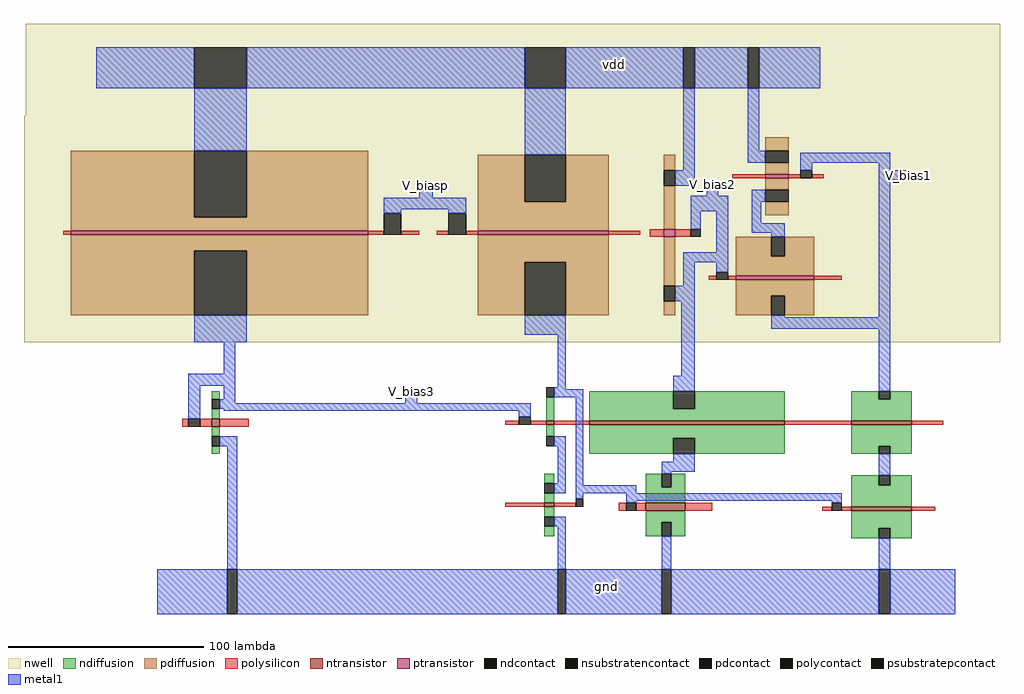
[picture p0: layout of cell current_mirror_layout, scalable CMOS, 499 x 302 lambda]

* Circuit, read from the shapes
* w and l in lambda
.subckt current_mirror_layout V_bias1 V_bias2 V_bias3 V_biasp gnd vdd
M1 V_bias3 V_bias3 gnd gnd nfet w=4 l=4
M2 n1 n2 gnd gnd nfet w=5 l=2
M3 n2 V_bias3 n1 gnd nfet w=4 l=2
M4 V_bias2 V_bias3 n3 gnd nfet w=100 l=2
M5 n3 n2 gnd gnd nfet w=20 l=4
M6 n4 n2 gnd gnd nfet w=31 l=2
M7 V_bias1 V_bias3 n4 gnd nfet w=31 l=2
M8 vdd V_biasp V_bias3 vdd pfet w=152 l=2
M9 vdd V_biasp n2 vdd pfet w=67 l=2
M10 vdd V_bias2 V_bias2 vdd pfet w=6 l=4
M11 n5 V_bias2 V_bias1 vdd pfet w=40 l=2
M12 vdd V_bias1 n5 vdd pfet w=12 l=2
.ends

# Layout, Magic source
magic
tech scmos
<< nwell >>
rect -126 142 372 189
rect -127 26 372 142
<< ntransistor >>
rect -31 -17 -27 -13
rect 140 -16 144 -14
rect 162 -16 262 -14
rect 296 -16 327 -14
rect 139 -58 144 -56
rect 191 -60 211 -56
rect 296 -60 327 -58
<< ptransistor >>
rect -103 81 49 83
rect 252 110 264 112
rect 105 81 172 83
rect 200 80 206 84
rect 237 58 277 60
<< ndiffusion >>
rect -31 -3 -27 1
rect -31 -13 -27 -8
rect 140 -14 144 -2
rect 162 -8 205 1
rect 216 -8 262 1
rect 162 -14 262 -8
rect 296 -3 310 1
rect 316 -3 327 1
rect 296 -14 327 -3
rect -31 -22 -27 -17
rect 140 -22 144 -16
rect 162 -23 262 -16
rect -31 -31 -27 -27
rect 162 -31 205 -23
rect 216 -31 262 -23
rect 296 -27 327 -16
rect 296 -31 310 -27
rect 316 -31 327 -27
rect 139 -46 144 -41
rect 139 -56 144 -51
rect 191 -48 199 -41
rect 204 -48 211 -41
rect 191 -56 211 -48
rect 296 -47 310 -42
rect 316 -47 327 -42
rect 139 -63 144 -58
rect 296 -58 327 -47
rect 139 -73 144 -68
rect 191 -66 211 -60
rect 191 -73 199 -66
rect 204 -73 211 -66
rect 296 -69 327 -60
rect 296 -74 310 -69
rect 316 -74 327 -69
<< pdiffusion >>
rect 252 124 264 131
rect -103 90 -40 124
rect -13 90 49 124
rect 105 98 129 122
rect 150 98 172 122
rect -103 83 49 90
rect 105 83 172 98
rect 200 114 206 122
rect 252 112 264 118
rect 200 84 206 106
rect 252 104 264 110
rect 252 91 264 98
rect -103 73 49 81
rect -103 40 -40 73
rect -13 40 49 73
rect 105 67 172 81
rect 105 40 129 67
rect 150 40 172 67
rect 200 55 206 80
rect 237 70 255 80
rect 262 70 277 80
rect 237 60 277 70
rect 200 40 206 47
rect 237 50 277 58
rect 237 40 255 50
rect 262 40 277 50
<< ndcontact >>
rect -31 -8 -27 -3
rect 140 -2 144 3
rect 205 -8 216 1
rect 310 -3 316 1
rect -31 -27 -27 -22
rect 140 -27 144 -22
rect 205 -31 216 -23
rect 310 -31 316 -27
rect 139 -51 144 -46
rect 199 -48 204 -41
rect 310 -47 316 -42
rect 139 -68 144 -63
rect 199 -73 204 -66
rect 310 -74 316 -69
<< pdcontact >>
rect -40 90 -13 124
rect 129 98 150 122
rect 200 106 206 114
rect 252 118 264 124
rect 252 98 264 104
rect -40 40 -13 73
rect 129 40 150 67
rect 255 70 262 80
rect 200 47 206 55
rect 255 40 262 50
<< psubstratepcontact >>
rect -23 -113 -18 -90
rect 146 -113 150 -90
rect 199 -113 204 -90
rect 310 -113 316 -90
<< nsubstratencontact >>
rect -40 156 -13 177
rect 129 156 150 177
rect 210 156 216 177
rect 243 156 249 177
<< polysilicon >>
rect -107 81 -103 83
rect 49 81 57 83
rect 66 81 75 83
rect 84 81 90 83
rect 235 110 252 112
rect 264 110 270 112
rect 276 110 282 112
rect 99 81 105 83
rect 172 81 188 83
rect 193 80 200 84
rect 206 80 214 84
rect 223 58 227 60
rect 233 58 237 60
rect 277 58 291 60
rect -46 -17 -43 -13
rect -37 -17 -31 -13
rect -27 -17 -12 -13
rect 119 -16 126 -14
rect 132 -16 140 -14
rect 144 -16 162 -14
rect 262 -16 296 -14
rect 327 -16 343 -14
rect 119 -58 139 -56
rect 144 -58 155 -56
rect 177 -60 181 -56
rect 186 -60 191 -56
rect 211 -60 225 -56
rect 281 -60 286 -58
rect 291 -60 296 -58
rect 327 -60 339 -58
<< polycontact >>
rect 57 81 66 92
rect 90 81 99 92
rect 270 110 276 114
rect 214 80 219 84
rect 227 58 233 62
rect -43 -17 -37 -13
rect 126 -16 132 -12
rect 155 -58 159 -54
rect 181 -60 186 -56
rect 286 -60 291 -56
<< metal1 >>
rect -90 156 -40 177
rect -13 156 129 177
rect 150 156 210 177
rect 216 156 243 177
rect 249 156 280 177
rect -40 124 -13 156
rect 129 122 150 156
rect 75 100 82 106
rect 57 94 99 100
rect 210 114 216 156
rect 243 124 249 156
rect 243 118 252 124
rect 270 118 316 123
rect 206 106 216 114
rect 270 114 276 118
rect 310 114 316 118
rect 310 109 325 114
rect 222 101 228 107
rect 57 92 66 94
rect 90 92 99 94
rect 214 93 233 101
rect 214 84 219 93
rect 227 72 233 93
rect 245 98 252 104
rect 245 87 250 98
rect 245 82 262 87
rect 210 67 233 72
rect 255 80 262 82
rect -40 26 -13 40
rect 210 55 216 67
rect 227 62 233 67
rect 206 47 216 55
rect 129 30 150 40
rect -25 10 -19 26
rect -43 4 -19 10
rect -43 -13 -37 4
rect -25 -3 -19 4
rect 146 3 150 30
rect 209 9 216 47
rect 255 39 262 40
rect 310 39 316 109
rect 255 33 316 39
rect -27 -5 -19 -3
rect 68 -5 74 1
rect 144 2 150 3
rect 144 -2 159 2
rect -27 -8 132 -5
rect -25 -9 132 -8
rect 126 -12 132 -9
rect -27 -27 -18 -22
rect 144 -27 150 -22
rect -23 -90 -18 -27
rect 146 -46 150 -27
rect 144 -51 150 -46
rect 155 -47 159 -2
rect 205 1 216 9
rect 310 1 316 33
rect 205 -35 216 -31
rect 199 -40 216 -35
rect 199 -41 204 -40
rect 155 -51 186 -47
rect 310 -42 316 -31
rect 155 -54 159 -51
rect 181 -55 291 -51
rect 181 -56 186 -55
rect 286 -56 291 -55
rect 144 -68 150 -63
rect 146 -90 150 -68
rect 199 -90 204 -73
rect 310 -90 316 -74
rect -59 -113 -23 -90
rect -18 -113 146 -90
rect 150 -113 199 -90
rect 204 -113 310 -90
rect 316 -113 349 -90
<< labels >>
rlabel metal1 75 106 82 106 1 V_biasp
rlabel metal1 68 1 74 1 1 V_bias3
rlabel metal1 222 107 228 107 1 V_bias2
rlabel metal1 325 109 325 114 1 V_bias1
rlabel metal1 171 -99 171 -99 1 gnd
rlabel metal1 175 168 175 168 1 vdd
<< end >>
